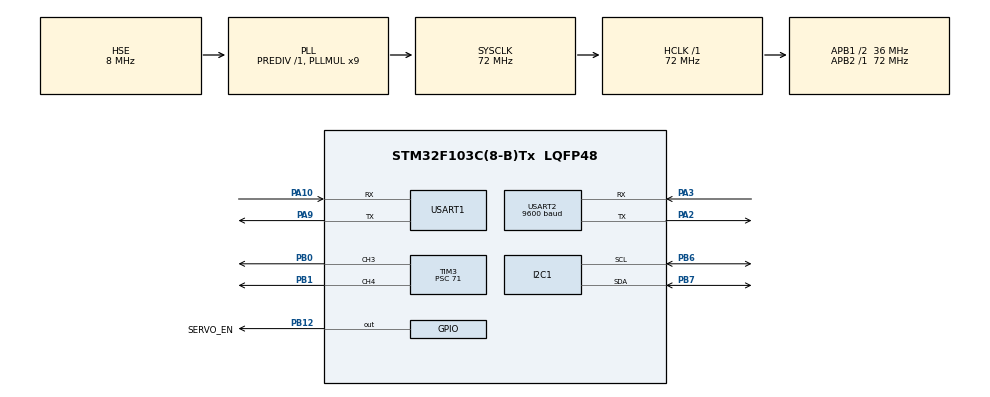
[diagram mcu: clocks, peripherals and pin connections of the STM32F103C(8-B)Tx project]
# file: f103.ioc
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FREERTOS.BinarySemaphores01=i2cDone,Static,i2cDoneControl,Depleted
FREERTOS.Tasks01=comm,24,640,StartDefaultTask,Default,NULL,Dynamic,NULL,NULL;control,32,576,StartControl,As external,NULL,Dynamic,NULL,NULL
FREERTOS.configTOTAL_HEAP_SIZE=10240
IWDG.Prescaler=IWDG_PRESCALER_32
IWDG.Reload=624
Mcu.Family=STM32F1
Mcu.Name=STM32F103C(8-B)Tx
Mcu.Package=LQFP48
NVIC.I2C1_ER_IRQn=true\:6\:0\:true\:false\:true\:true\:true\:true\:true
NVIC.I2C1_EV_IRQn=true\:6\:0\:true\:false\:true\:true\:true\:true\:true
NVIC.PriorityGroup=NVIC_PRIORITYGROUP_4
NVIC.TIM2_IRQn=true\:6\:0\:true\:false\:true\:true\:true\:true\:true
NVIC.TIM3_IRQn=true\:6\:0\:true\:false\:true\:true\:true\:true\:true
NVIC.TIM4_IRQn=true\:15\:0\:false\:false\:true\:false\:false\:true\:true
NVIC.TimeBase=TIM4_IRQn
NVIC.TimeBaseIP=TIM4
NVIC.USART1_IRQn=true\:6\:0\:true\:false\:true\:true\:true\:true\:true
NVIC.USART2_IRQn=true\:6\:0\:true\:false\:true\:true\:true\:true\:true
PA10.Mode=Asynchronous
PA10.Signal=USART1_RX
PA13.Mode=Serial_Wire
PA13.Signal=SYS_JTMS-SWDIO
PA14.Mode=Serial_Wire
PA14.Signal=SYS_JTCK-SWCLK
PA2.Mode=Asynchronous
PA2.Signal=USART2_TX
PA3.Mode=Asynchronous
PA3.Signal=USART2_RX
PA9.Mode=Asynchronous
PA9.Signal=USART1_TX
PB0.Signal=S_TIM3_CH3
PB1.Signal=S_TIM3_CH4
PB12.GPIO_Label=SERVO_EN
PB12.Signal=GPIO_Output
PB6.Mode=I2C
PB6.Signal=I2C1_SCL
PB7.Mode=I2C
PB7.Signal=I2C1_SDA
PD0-OSC_IN.Mode=HSE-External-Oscillator
PD0-OSC_IN.Signal=RCC_OSC_IN
PD1-OSC_OUT.Mode=HSE-External-Oscillator
PD1-OSC_OUT.Signal=RCC_OSC_OUT
ProjectManager.HeapSize=0x200
ProjectManager.StackSize=0x400
ProjectManager.TargetToolchain=CMake
RCC.ADCPresc=RCC_ADCPCLK2_DIV6
RCC.AHBFreq_Value=72000000
RCC.APB1CLKDivider=RCC_HCLK_DIV2
RCC.APB1Freq_Value=36000000
RCC.APB1TimFreq_Value=72000000
RCC.APB2Freq_Value=72000000
RCC.APB2TimFreq_Value=72000000
RCC.HCLKFreq_Value=72000000
RCC.PLLMUL=RCC_PLL_MUL9
RCC.PLLSourceVirtual=RCC_PLLSOURCE_HSE
RCC.SYSCLKFreq_VALUE=72000000
RCC.SYSCLKSource=RCC_SYSCLKSOURCE_PLLCLK
RCC.USBFreq_Value=48000000
RCC.USBPrescaler=RCC_USBCLKSOURCE_PLL_DIV1_5
SH.S_TIM3_CH3.0=TIM3_CH3,PWM Generation3 CH3
SH.S_TIM3_CH4.0=TIM3_CH4,PWM Generation4 CH4
TIM2.Period=9999
TIM2.Prescaler=71
TIM3.Channel-PWM\ Generation3\ CH3=TIM_CHANNEL_3
TIM3.Channel-PWM\ Generation4\ CH4=TIM_CHANNEL_4
TIM3.Period=19999
TIM3.Prescaler=71
USART1.VirtualMode=VM_ASYNC
USART2.BaudRate=9600
USART2.VirtualMode=VM_ASYNC
VP_FREERTOS_VS_CMSIS_V2.Mode=CMSIS_V2
VP_IWDG_VS_IWDG.Mode=IWDG_Activate
VP_SYS_VS_tim4.Mode=TIM4
VP_TIM2_VS_ClockSourceINT.Mode=Internal
VP_TIM3_VS_ClockSourceINT.Mode=Internal
board=custom

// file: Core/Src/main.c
/* USER CODE BEGIN Header */
/**
  ******************************************************************************
  * @file           : main.c
  * @brief          : Main program body
  ******************************************************************************
  * @attention
  *
  * Copyright (c) 2026 STMicroelectronics.
  * All rights reserved.
  *
  * This software is licensed under terms that can be found in the LICENSE file
  * in the root directory of this software component.
  * If no LICENSE file comes with this software, it is provided AS-IS.
  *
  ******************************************************************************
  */
/* USER CODE END Header */
#include "main.h"
#include "cmsis_os.h"
#include "i2c.h"
#include "iwdg.h"
#include "tim.h"
#include "usart.h"
#include "gpio.h"

/* USER CODE BEGIN Includes */
#include "BSP/safe_output.h"

/* USER CODE END Includes */

/* USER CODE BEGIN PV */
/* Available before the UART and scheduler are initialized. */
const char * volatile framework_fault_file;
volatile uint32_t framework_fault_line;
/* USER CODE END PV */

void SystemClock_Config(void);
void MX_FREERTOS_Init(void);

int main(void)
{

  /* MCU Configuration--------------------------------------------------------*/

  /* Reset of all peripherals, Initializes the Flash interface and the Systick. */
  HAL_Init();

  /* USER CODE BEGIN Init */
  Gimbal_CutPower();

  /* USER CODE END Init */

  /* Configure the system clock */
  SystemClock_Config();

  /* Initialize all configured peripherals */
  MX_GPIO_Init();
  MX_USART1_UART_Init();
  MX_TIM2_Init();
  MX_I2C1_Init();
  MX_TIM3_Init();
  MX_USART2_UART_Init();
  MX_IWDG_Init();

  /* Init scheduler */
  osKernelInitialize();  /* Call init function for freertos objects (in cmsis_os2.c) */
  MX_FREERTOS_Init();

  /* Start scheduler */
  osKernelStart();

  /* We should never get here as control is now taken by the scheduler */

  /* Infinite loop */
  /* USER CODE BEGIN WHILE */
  Error_Handler();
  while (1)
  {
    /* USER CODE END WHILE */

  }
}

void SystemClock_Config(void)
{
  RCC_OscInitTypeDef RCC_OscInitStruct = {0};
  RCC_ClkInitTypeDef RCC_ClkInitStruct = {0};

  /** Initializes the RCC Oscillators according to the specified parameters
  * in the RCC_OscInitTypeDef structure.
  */
  RCC_OscInitStruct.OscillatorType = RCC_OSCILLATORTYPE_LSI|RCC_OSCILLATORTYPE_HSE;
  RCC_OscInitStruct.HSEState = RCC_HSE_ON;
  RCC_OscInitStruct.HSEPredivValue = RCC_HSE_PREDIV_DIV1;
  RCC_OscInitStruct.HSIState = RCC_HSI_ON;
  RCC_OscInitStruct.LSIState = RCC_LSI_ON;
  RCC_OscInitStruct.PLL.PLLState = RCC_PLL_ON;
  RCC_OscInitStruct.PLL.PLLSource = RCC_PLLSOURCE_HSE;
  RCC_OscInitStruct.PLL.PLLMUL = RCC_PLL_MUL9;
  if (HAL_RCC_OscConfig(&RCC_OscInitStruct) != HAL_OK)
  {
    Error_Handler();
  }

  /** Initializes the CPU, AHB and APB buses clocks
  */
  RCC_ClkInitStruct.ClockType = RCC_CLOCKTYPE_HCLK|RCC_CLOCKTYPE_SYSCLK
                              |RCC_CLOCKTYPE_PCLK1|RCC_CLOCKTYPE_PCLK2;
  RCC_ClkInitStruct.SYSCLKSource = RCC_SYSCLKSOURCE_PLLCLK;
  RCC_ClkInitStruct.AHBCLKDivider = RCC_SYSCLK_DIV1;
  RCC_ClkInitStruct.APB1CLKDivider = RCC_HCLK_DIV2;
  RCC_ClkInitStruct.APB2CLKDivider = RCC_HCLK_DIV1;

  if (HAL_RCC_ClockConfig(&RCC_ClkInitStruct, FLASH_LATENCY_2) != HAL_OK)
  {
    Error_Handler();
  }
}

/* USER CODE BEGIN 4 */
#undef Error_Handler

void Framework_Fatal(const char *file, uint32_t line)
{
  __disable_irq();
  Gimbal_CutPower();
  framework_fault_file = file;
  framework_fault_line = line;
  Error_Handler();
}

__weak void Framework_TimerElapsed(TIM_HandleTypeDef *htim)
{
  (void)htim;
}
/* USER CODE END 4 */

void HAL_TIM_PeriodElapsedCallback(TIM_HandleTypeDef *htim)
{
  if (htim->Instance == TIM4)
  {
    HAL_IncTick();
  }
  /* USER CODE BEGIN Callback 1 */
  if (htim->Instance != TIM4)
  {
    Framework_TimerElapsed(htim);
  }
  /* USER CODE END Callback 1 */
}

void Error_Handler(void)
{
  /* USER CODE BEGIN Error_Handler_Debug */
  Gimbal_CutPower();
  __disable_irq();
  while (1)
  {
  }
  /* USER CODE END Error_Handler_Debug */
}

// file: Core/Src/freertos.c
/* USER CODE BEGIN Header */
/**
  ******************************************************************************
  * File Name          : freertos.c
  * Description        : Code for freertos applications
  ******************************************************************************
  * @attention
  *
  * Copyright (c) 2026 STMicroelectronics.
  * All rights reserved.
  *
  * This software is licensed under terms that can be found in the LICENSE file
  * in the root directory of this software component.
  * If no LICENSE file comes with this software, it is provided AS-IS.
  *
  ******************************************************************************
  */
/* USER CODE END Header */

#include "FreeRTOS.h"
#include "task.h"
#include "main.h"
#include "cmsis_os.h"

/* USER CODE BEGIN Includes */
#include "Application/runtime.h"

/* USER CODE END Includes */

typedef StaticSemaphore_t osStaticSemaphoreDef_t;

/* Definitions for comm */
osThreadId_t commHandle;
const osThreadAttr_t comm_attributes = {
  .name = "comm",
  .stack_size = 640 * 4,
  .priority = (osPriority_t) osPriorityNormal,
};
/* Definitions for control */
osThreadId_t controlHandle;
const osThreadAttr_t control_attributes = {
  .name = "control",
  .stack_size = 576 * 4,
  .priority = (osPriority_t) osPriorityAboveNormal,
};
/* Definitions for i2cDone */
osSemaphoreId_t i2cDoneHandle;
osStaticSemaphoreDef_t i2cDoneControl;
const osSemaphoreAttr_t i2cDone_attributes = {
  .name = "i2cDone",
  .cb_mem = &i2cDoneControl,
  .cb_size = sizeof(i2cDoneControl),
};

void StartDefaultTask(void *argument);
extern void StartControl(void *argument);

void MX_FREERTOS_Init(void); /* (MISRA C 2004 rule 8.1) */

void MX_FREERTOS_Init(void) {
  /* USER CODE BEGIN Init */
  if (osKernelGetState() != osKernelReady)
  {
    Error_Handler();
  }
  /* USER CODE END Init */

  /* Create the semaphores(s) */
  /* creation of i2cDone */
  i2cDoneHandle = osSemaphoreNew(1, 0, &i2cDone_attributes);

  /* USER CODE BEGIN RTOS_QUEUES */
  Gimbal_CreateQueues();
  /* USER CODE END RTOS_QUEUES */

  /* Create the thread(s) */
  /* creation of comm */
  commHandle = osThreadNew(StartDefaultTask, NULL, &comm_attributes);

  /* creation of control */
  controlHandle = osThreadNew(StartControl, NULL, &control_attributes);

  /* USER CODE BEGIN RTOS_THREADS */
  if (!commHandle || !controlHandle || !i2cDoneHandle) Error_Handler();
  /* USER CODE END RTOS_THREADS */

}

void StartDefaultTask(void *argument)
{
  /* USER CODE BEGIN StartDefaultTask */
  (void)argument;
  Gimbal_Comm();
  Error_Handler();
  /* USER CODE END StartDefaultTask */
}
